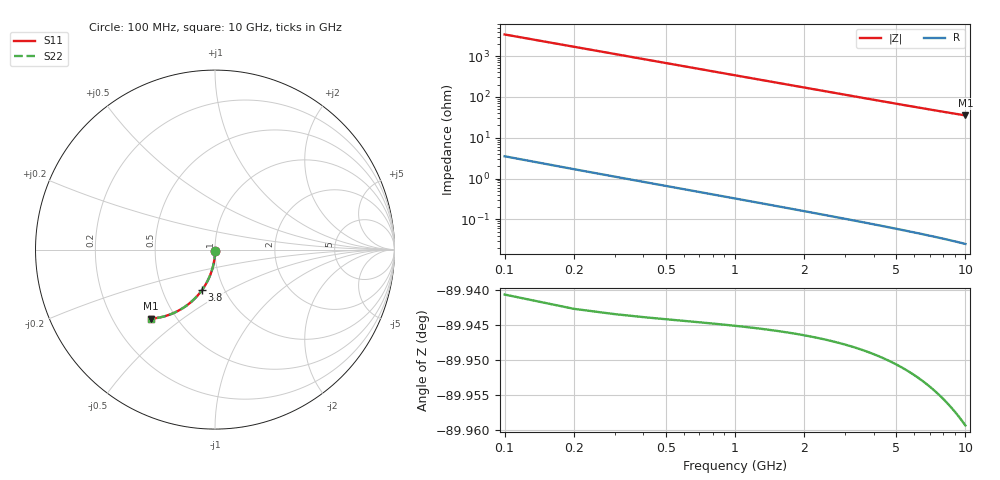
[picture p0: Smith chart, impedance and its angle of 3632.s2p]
# Hz S RI R 50.00
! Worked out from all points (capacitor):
!   100 points, 100 MHz to 10 GHz, reference 50 ohm
!   read as one part in shunt: C = 470 fF near 100 MHz
!   lowest |Z| = 35.2 ohm at 10 GHz (marker M1)
!   S11 on the Smith chart (normalised r, x): 100 MHz: 1.00, -0.01; 3.8 GHz: 0.79, -0.37; 10 GHz: 0.36, -0.39
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1e8  0.000302 -0.00643  0.9996 -0.00832  0.9996 -0.00832  0.000302 -0.00643
2e8  0.000137 -0.0129  0.9994 -0.0166  0.9994 -0.0166  0.000137 -0.0129
3e8  -0.000136 -0.0193  0.9991 -0.025  0.9991 -0.025  -0.000136 -0.0193
4e8  -0.000516 -0.0257  0.9987 -0.0333  0.9987 -0.0333  -0.000516 -0.0257
5e8  -0.001 -0.0321  0.9982 -0.0416  0.9982 -0.0416  -0.001 -0.0321
6e8  -0.0016 -0.0385  0.9976 -0.0499  0.9976 -0.0499  -0.0016 -0.0385
7e8  -0.0023 -0.0449  0.9969 -0.0581  0.9969 -0.0581  -0.0023 -0.0449
8e8  -0.0031 -0.0513  0.996 -0.0664  0.996 -0.0664  -0.0031 -0.0513
9e8  -0.00401 -0.0576  0.9951 -0.0746  0.9951 -0.0746  -0.00401 -0.0576
1.1e9  -0.00614 -0.0703  0.9929 -0.0911  0.9929 -0.0911  -0.00614 -0.0703
1.4e9  -0.0101 -0.089  0.9888 -0.1155  0.9888 -0.1155  -0.0101 -0.089
1.8e9  -0.0168 -0.1136  0.9818 -0.1477  0.9818 -0.1477  -0.0168 -0.1136
2.1e9  -0.0229 -0.1317  0.9755 -0.1714  0.9755 -0.1714  -0.0229 -0.1317
2.5e9  -0.0323 -0.1551  0.9658 -0.2025  0.9658 -0.2025  -0.0323 -0.1551
2.9e9  -0.0431 -0.1777  0.9546 -0.2327  0.9546 -0.2327  -0.0431 -0.1777
3.4e9  -0.0585 -0.2046  0.9386 -0.2691  0.9386 -0.2691  -0.0585 -0.2046
3.8e9  -0.0722 -0.225  0.9244 -0.2972  0.9244 -0.2972  -0.0722 -0.225
4.4e9  -0.0947 -0.2535  0.901 -0.3371  0.901 -0.3371  -0.0947 -0.2535
5.1e9  -0.1237 -0.2833  0.8708 -0.3804  0.8708 -0.3804  -0.1237 -0.2833
6.7e9  -0.1972 -0.3367  0.7937 -0.4648  0.7937 -0.4648  -0.1972 -0.3367
8.4e9  -0.2805 -0.3713  0.7055 -0.5328  0.7055 -0.5328  -0.2805 -0.3713
1e10  -0.3579 -0.3849  0.6223 -0.5784  0.6223 -0.5784  -0.3579 -0.3849
